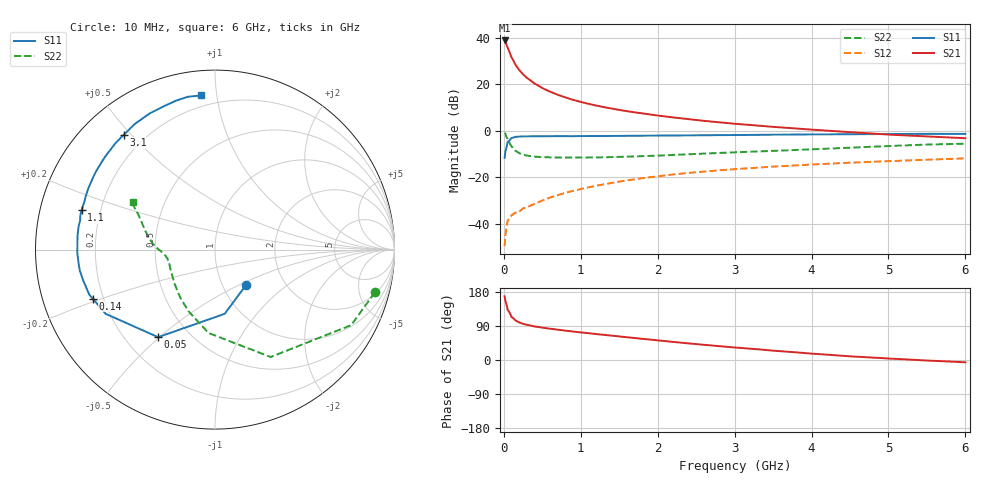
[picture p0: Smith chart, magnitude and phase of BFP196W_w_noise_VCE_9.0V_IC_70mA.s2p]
! (c) 2017  Infineon Technologies AG, Munich
! Infineon Technologies  Discrete & RF Semiconductors
! BFP196W
! VCE =  9.0 V,  IC =  70 mA
! Common Emitter S-Parameters:  Jan 2017
# GHz  S  MA  R  50
!  f  S11  S21  S12  S22
! GHz  MAG  ANG  MAG  ANG  MAG  ANG  MAG  ANG
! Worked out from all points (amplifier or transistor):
!   77 points, 10 MHz to 6 GHz, reference 50 ohm
!   highest |S21| = 38.9 dB at 10 MHz (marker M1)
!   |S21| within 3 dB of that: start of sweep to 48.02 MHz
!   unconditionally stable (mu >= 1): 640 MHz to 3.26 GHz
!   at 130 MHz: K = 0.46, MSG = 32.8 dB, |S12| = -35.7 dB
!   at 2.2 GHz: K = 1.04, MAG = 11.1 dB, |S12| = -18.8 dB
!   at 6 GHz: K = 0.93, MSG = 4.3 dB, |S12| = -11.8 dB
!   lowest NFmin = 1.58 dB at 450 MHz
!   S11 on the Smith chart (normalised r, x): 10 MHz: 1.28, -0.55; 50 MHz: 0.34, -0.49; 140 MHz: 0.16, -0.19; 1.1 GHz: 0.13, +0.14; 3.1 GHz: 0.12, +0.48; 6 GHz: 0.13, +0.90
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0.01  0.2628 -49.1  88.56 168.1  0.0033 81.2  0.9216 -15.0
0.02  0.3618 -81.4  83.31 156.5  0.0056 73.7  0.868 -29.0
0.05  0.5816 -123.0  61.59 132.3  0.0118 54.4  0.6743 -62.6
0.1  0.7061 -149.5  38.18 113.2  0.0152 43.1  0.4661 -94.4
0.14  0.7343 -158.2  29.04 106.9  0.0169 42.7  0.3886 -108.8
0.15  0.7439 -160.3  26.83 104.6  0.0173 42.6  0.374 -113.2
0.2  0.754 -166.7  20.47 99.2  0.0183 46.4  0.3323 -125.1
0.25  0.7623 -171.1  16.52 95.4  0.0215 48.5  0.3072 -134.0
0.3  0.7638 -174.1  13.82 92.8  0.0227 51.2  0.2939 -140.1
0.4  0.7674 -178.8  10.46 88.5  0.0268 55.5  0.279 -148.6
0.5  0.7673 177.9  8.37 85.3  0.0316 58.2  0.2721 -154.2
0.6  0.7693 174.9  6.999 82.5  0.0367 60.1  0.2701 -158.1
0.7  0.7704 172.6  5.995 80.1  0.0414 62.4  0.2671 -161.0
0.9  0.7686 167.8  4.659 75.1  0.0511 63.3  0.2672 -164.9
1.1  0.7752 163.6  3.836 70.8  0.061 64.3  0.2685 -167.7
1.3  0.7754 159.6  3.248 66.4  0.0708 63.2  0.2708 -170.1
1.5  0.7812 155.9  2.828 62.2  0.0808 62.5  0.276 -172.3
2.1  0.7948 144.7  2.047 49.8  0.1103 58.5  0.2986 -177.7
3.1  0.8169 128.5  1.383 31.5  0.154 50.0  0.3509 173.9
4.1  0.842 114.4  1.04 15.5  0.1924 41.6  0.4076 163.9
5.1  0.8589 103.6  0.818 2.9  0.2264 33.6  0.4791 154.6
6  0.8623 95.2  0.696 -6.1  0.2565 26.5  0.5308 149.9
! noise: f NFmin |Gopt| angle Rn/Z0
0.45  1.58  0.55  -175  0.06
0.9  1.7  0.58  -169  0.07
1.9  2.54  0.7  -148  0.18
2.4  2.95  0.74  -143  0.3
